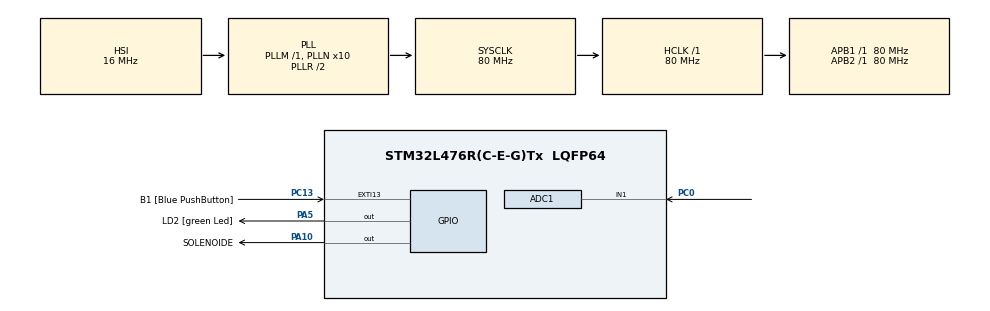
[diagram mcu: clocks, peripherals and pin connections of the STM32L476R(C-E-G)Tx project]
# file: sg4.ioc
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ADC1.Channel-0\#ChannelRegularConversion=ADC_CHANNEL_1
ADC1.NbrOfConversionFlag=1
ADC1.OffsetNumber-0\#ChannelRegularConversion=ADC_OFFSET_NONE
ADC1.Rank-0\#ChannelRegularConversion=1
ADC1.SamplingTime-0\#ChannelRegularConversion=ADC_SAMPLETIME_2CYCLES_5
ADC1.master=1
Mcu.Family=STM32L4
Mcu.Name=STM32L476R(C-E-G)Tx
Mcu.Package=LQFP64
NVIC.PriorityGroup=NVIC_PRIORITYGROUP_4
NVIC.TIM6_DAC_IRQn=true\:0\:0\:false\:false\:true\:true\:true\:true
PA10.GPIO_Label=SOLENOIDE
PA10.GPIO_Speed=GPIO_SPEED_FREQ_VERY_HIGH
PA10.Signal=GPIO_Output
PA13\ (JTMS-SWDIO).GPIO_Label=TMS
PA13\ (JTMS-SWDIO).Signal=SYS_JTMS-SWDIO
PA14\ (JTCK-SWCLK).GPIO_Label=TCK
PA14\ (JTCK-SWCLK).Signal=SYS_JTCK-SWCLK
PA2.GPIO_Label=USART_TX
PA2.GPIO_Mode=GPIO_MODE_AF_PP
PA2.GPIO_PuPd=GPIO_NOPULL
PA2.GPIO_Speed=GPIO_SPEED_FREQ_VERY_HIGH
PA2.Signal=USART2_TX
PA3.GPIO_Label=USART_RX
PA3.GPIO_Mode=GPIO_MODE_AF_PP
PA3.GPIO_PuPd=GPIO_NOPULL
PA3.GPIO_Speed=GPIO_SPEED_FREQ_VERY_HIGH
PA3.Signal=USART2_RX
PA5.GPIO_Label=LD2 [green Led]
PA5.GPIO_ModeDefaultOutputPP=GPIO_MODE_OUTPUT_PP
PA5.GPIO_PuPd=GPIO_NOPULL
PA5.GPIO_Speed=GPIO_SPEED_FREQ_LOW
PA5.Signal=GPIO_Output
PB3\ (JTDO-TRACESWO).GPIO_Label=SWO
PB3\ (JTDO-TRACESWO).Signal=SYS_JTDO-SWO
PC0.Signal=ADCx_IN1
PC13.GPIO_Label=B1 [Blue PushButton]
PC13.GPIO_ModeDefaultEXTI=GPIO_MODE_IT_FALLING
PC13.GPIO_PuPd=GPIO_NOPULL
PC13.Signal=GPXTI13
PC14-OSC32_IN\ (PC14).Signal=RCC_OSC32_IN
PC15-OSC32_OUT\ (PC15).Signal=RCC_OSC32_OUT
PH0-OSC_IN\ (PH0).Signal=RCC_OSC_IN
PH1-OSC_OUT\ (PH1).Signal=RCC_OSC_OUT
ProjectManager.HeapSize=0x200
ProjectManager.StackSize=0x400
ProjectManager.TargetToolchain=STM32CubeIDE
RCC.ADCFreq_Value=64000000
RCC.AHBFreq_Value=80000000
RCC.APB1Freq_Value=80000000
RCC.APB1TimFreq_Value=80000000
RCC.APB2Freq_Value=80000000
RCC.APB2TimFreq_Value=80000000
RCC.CortexFreq_Value=80000000
RCC.HCLKFreq_Value=80000000
RCC.HSE_VALUE=8000000
RCC.HSI_VALUE=16000000
RCC.LSE_VALUE=32768
RCC.MSI_VALUE=4000000
RCC.PLLN=10
RCC.PLLSourceVirtual=RCC_PLLSOURCE_HSI
RCC.PREFETCH_ENABLE=1
RCC.SYSCLKFreq_VALUE=80000000
RCC.SYSCLKSource=RCC_SYSCLKSOURCE_PLLCLK
RCC.USBFreq_Value=64000000
RCC.VCOOutputFreq_Value=160000000
SH.ADCx_IN1.0=ADC1_IN1,IN1-Single-Ended
TIM6.Prescaler=40000-1
VP_TIM6_VS_ClockSourceINT.Mode=Enable_Timer
board=NUCLEO-L476RG

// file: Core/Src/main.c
/* USER CODE BEGIN Header */
/**
  ******************************************************************************
  * @file           : main.c
  * @brief          : Main program body
  ******************************************************************************
  * @attention
  *
  * Copyright (c) 2026 STMicroelectronics.
  * All rights reserved.
  *
  * This software is licensed under terms that can be found in the LICENSE file
  * in the root directory of this software component.
  * If no LICENSE file comes with this software, it is provided AS-IS.
  *
  ******************************************************************************
  */
/* USER CODE END Header */
#include "main.h"
#include "adc.h"
#include "tim.h"
#include "gpio.h"

/* USER CODE BEGIN Includes */
#include <stdio.h>
#include <stdlib.h>
/* USER CODE END Includes */

/* USER CODE BEGIN PD */
#define ADC_ARRAY_SIZE 5
/* USER CODE END PD */

/* USER CODE BEGIN PV */
unsigned char recibido1 = '1';
unsigned char recibido2 = '0';
/* USER CODE END PV */

void SystemClock_Config(void);

/* USER CODE BEGIN 0 */
uint8_t flag = 0;
float ADC_ARRAY[ADC_ARRAY_SIZE];
uint8_t index = 0;
/* USER CODE END 0 */

int main(void)
{

  /* MCU Configuration--------------------------------------------------------*/

  /* Reset of all peripherals, Initializes the Flash interface and the Systick. */
  HAL_Init();

  /* Configure the system clock */
  SystemClock_Config();

  /* Initialize all configured peripherals */
  MX_GPIO_Init();
  MX_ADC1_Init();
  MX_TIM6_Init();
  /* USER CODE BEGIN 2 */
  HAL_UART_Receive_IT(&huart2, &recibido2, 1);
  //HAL_UART_Receive_IT(&huart1, &recibido1, 1);
  /* para el manipulador de uart2 le pasa la direccion de mi variable
   * asignandole tamaño 1byte
   * cuando llega 1byte se guarda y se termina la funcion
   * cuando termina de recibir el byte activa el callback
   * el callback inicia la nueva recepcion de un byte sin bloquear la CPU
   *
   * */
  setvbuf(stdout,NULL,_IONBF,0);
  unsigned char character = 'U';
  double conversion = 0.000811233211233; // (2^12-1)/vref
  float resultado = 0.0f;
  float lecturaADC = 0.0f;
  HAL_TIM_Base_Start_IT(&htim6);
  double resultado_promediado = 0.0f;
  /* USER CODE END 2 */

  /* Infinite loop */
  /* USER CODE BEGIN WHILE */
  while (1)
  {

	  if(flag){
		  __disable_irq();
		  //HAL_GPIO_WritePin(LD2_GPIO_Port, LD2_Pin,0);// medido 1.947us
		  HAL_ADC_Start(&hadc1);  //teorico 234ns
		  	  	  	  	  	  	  //medido 5.169us
		  //HAL_GPIO_WritePin(LD2_GPIO_Port, LD2_Pin,1);

		  lecturaADC = HAL_ADC_GetValue(&hadc1);

		  resultado = lecturaADC * conversion;
		  //HAL_GPIO_WritePin(LD2_GPIO_Port, LD2_Pin,0); // 3.095us
		  //printf("%.1f\n",resultado); // 4.26ms
		  //HAL_GPIO_WritePin(LD2_GPIO_Port, LD2_Pin,1);
		  flag = 0;
		  ADC_ARRAY[index] = resultado;
		  index = (index +1)%ADC_ARRAY_SIZE;

		  __enable_irq();
		  //HAL_GPIO_WritePin(LD2_GPIO_Port, LD2_Pin,0);// 1.58us
	  }
	  for(uint8_t i = 0; i<ADC_ARRAY_SIZE; i++){
		  resultado_promediado += ADC_ARRAY[i];
	  }
	  resultado_promediado/= ADC_ARRAY_SIZE;

	  if(resultado_promediado<1){
		  HAL_GPIO_WritePin(SOLENOIDE_GPIO_Port, SOLENOIDE_Pin,1);
	  }else{
		  HAL_GPIO_WritePin(SOLENOIDE_GPIO_Port, SOLENOIDE_Pin,0);
	  }

	  //printf("p: %.4f\n",resultado_promediado);

	//HAL_UART_Transmit(&huart1, &character, 1, 500);
	//HAL_UART_Transmit(&huart1, &character, 1, 500);
	  /*Caracter 0101_0101, se verá en el discovery
				*...111111_0inicio_10101010_1termino111111...
				*Son 10 bit en total Inicio Byte Termino
				*cada bit se demora 1/2400 = 416.67 [us]
				*10 bits se demoran 1/240 = 4.1667 [ms]
				*
				*
				* 208.3us (START) ->
				* 625us (LSB) -> 1.042ms (B1) -> 1.458ms (B2) -> 1.875ms (B3) ->
				* 2.29ms (B4) -> 2.708ms (B5) -> 3.125ms (B6) -> 3.542ms (B7) ->
				* 3.96ms (STOP)
				*
				*
				*/
	//HAL_Delay(100);
    /* USER CODE END WHILE */

    /* USER CODE BEGIN 3 */

	  /*ACTIVIDAD 2*/
/*
		switch(recibido2){
			case 'A':
				HAL_GPIO_TogglePin(LD2_GPIO_Port, LD2_Pin);
				HAL_Delay(400);
				break;
			case 'B':
				HAL_GPIO_WritePin(LD2_GPIO_Port, LD2_Pin, 0);
				break;
			default:
				HAL_GPIO_TogglePin(LD2_GPIO_Port, LD2_Pin);
				HAL_Delay(80);
				break;
		}
*/
  }
  /* USER CODE END 3 */
}

void SystemClock_Config(void)
{
  RCC_OscInitTypeDef RCC_OscInitStruct = {0};
  RCC_ClkInitTypeDef RCC_ClkInitStruct = {0};

  /** Configure the main internal regulator output voltage
  */
  if (HAL_PWREx_ControlVoltageScaling(PWR_REGULATOR_VOLTAGE_SCALE1) != HAL_OK)
  {
    Error_Handler();
  }

  /** Initializes the RCC Oscillators according to the specified parameters
  * in the RCC_OscInitTypeDef structure.
  */
  RCC_OscInitStruct.OscillatorType = RCC_OSCILLATORTYPE_HSI;
  RCC_OscInitStruct.HSIState = RCC_HSI_ON;
  RCC_OscInitStruct.HSICalibrationValue = RCC_HSICALIBRATION_DEFAULT;
  RCC_OscInitStruct.PLL.PLLState = RCC_PLL_ON;
  RCC_OscInitStruct.PLL.PLLSource = RCC_PLLSOURCE_HSI;
  RCC_OscInitStruct.PLL.PLLM = 1;
  RCC_OscInitStruct.PLL.PLLN = 10;
  RCC_OscInitStruct.PLL.PLLP = RCC_PLLP_DIV7;
  RCC_OscInitStruct.PLL.PLLQ = RCC_PLLQ_DIV2;
  RCC_OscInitStruct.PLL.PLLR = RCC_PLLR_DIV2;
  if (HAL_RCC_OscConfig(&RCC_OscInitStruct) != HAL_OK)
  {
    Error_Handler();
  }

  /** Initializes the CPU, AHB and APB buses clocks
  */
  RCC_ClkInitStruct.ClockType = RCC_CLOCKTYPE_HCLK|RCC_CLOCKTYPE_SYSCLK
                              |RCC_CLOCKTYPE_PCLK1|RCC_CLOCKTYPE_PCLK2;
  RCC_ClkInitStruct.SYSCLKSource = RCC_SYSCLKSOURCE_PLLCLK;
  RCC_ClkInitStruct.AHBCLKDivider = RCC_SYSCLK_DIV1;
  RCC_ClkInitStruct.APB1CLKDivider = RCC_HCLK_DIV1;
  RCC_ClkInitStruct.APB2CLKDivider = RCC_HCLK_DIV1;

  if (HAL_RCC_ClockConfig(&RCC_ClkInitStruct, FLASH_LATENCY_4) != HAL_OK)
  {
    Error_Handler();
  }
}

/* USER CODE BEGIN 4 */
void HAL_UART_RxCpltCallback(UART_HandleTypeDef *huart){

	if(huart->Instance == USART1){

		HAL_UART_Receive_IT(&huart1, &recibido1, 1);
	}else if(huart->Instance == USART2){

		HAL_UART_Receive_IT(&huart2, &recibido2, 1);
	}
}
void HAL_TIM_PeriodElapsedCallback(TIM_HandleTypeDef *htim){
	if(htim->Instance == TIM6){
		//HAL_GPIO_WritePin(LD2_GPIO_Port, LD2_Pin,1);
		flag = 1;
	}

}

int _write(int file, char *ptr, int len) {
  HAL_UART_Transmit(&huart2, (uint8_t *)ptr, len,1000); //Polling
  return len;
}
/* USER CODE END 4 */

void Error_Handler(void)
{
  __disable_irq();
  while (1)
  {
  }
}
